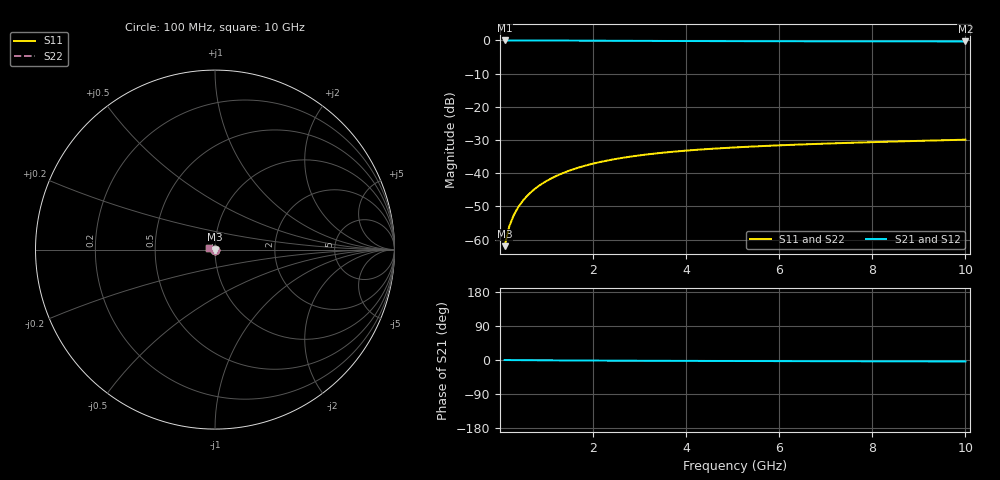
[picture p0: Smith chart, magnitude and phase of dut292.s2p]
! Touchstone file exported from HFSS 2024.1.0
!  File:  C:/UserFiles/LocalFiles/RDL_TSV_Batchsim/temp_TSV1_292_1779394344.aedt
!  Generated:  04:16:47 AM May 22, 2026
!  Design:  TSV1
!  Project:  temp_TSV1_292_1779394344
!  Setup:  Setup1
!  Solution:  Sweep
! Variables:
!  dtsv = 8.63um
!  hbump = 3um
!  htsv = 58.4um
!  lrdl = 252.1521522um
!  p = 40
!  p1 = 48.46um
!  t = 500um
!  trdl = 3um
!  wrdl = 24.89489489um
# GHz S MA R 50.000000
! Terminal data exported
! Port[1] = TSV22_T1
! Port[2] = TSV22_T2
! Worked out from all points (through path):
!   100 points, 100 MHz to 10 GHz, reference 50 ohm
!   highest |S21| = 0.00 dB at 100 MHz (marker M1); lowest = -0.3 dB at 10 GHz (marker M2)
!   lowest |S11| = -62.0 dB at 100 MHz (marker M3), VSWR 1.00, Z = 50 - j0.0785 ohm
!   |S11| at or under -10 dB: start of sweep to end of sweep
!   |S22| runs from -62.0 to -29.9 dB; largest |S21 - S12| = 5.1e-15
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0.1  0.0007963 -80.1  0.9998 -0.1  0.9998 -0.1  0.0007963 -80.1
! Gamma 0 0 0 0
! Port Impedance 50 0 50 0
0.2  0.001579 -87.7  0.9997 -0.2  0.9997 -0.2  0.001579 -87.7
0.3  0.002364 -91.6  0.9996 -0.3  0.9996 -0.3  0.002364 -91.6
0.4  0.003143 -94.5  0.9994 -0.4  0.9994 -0.4  0.003143 -94.5
0.5  0.003916 -97.0  0.9991 -0.4  0.9991 -0.4  0.003916 -97.0
0.6  0.004681 -99.3  0.9988 -0.5  0.9988 -0.5  0.004681 -99.3
0.7  0.005436 -101.5  0.9985 -0.6  0.9985 -0.6  0.005436 -101.5
0.8  0.00618 -103.6  0.9981 -0.7  0.9981 -0.7  0.00618 -103.6
0.9  0.006912 -105.6  0.9977 -0.8  0.9977 -0.8  0.006912 -105.6
1.1  0.008335 -109.4  0.9968 -0.9  0.9968 -0.9  0.008335 -109.4
1.4  0.01035 -114.9  0.9952 -1.1  0.9952 -1.1  0.01035 -114.9
1.6  0.01162 -118.3  0.994 -1.3  0.994 -1.3  0.01162 -118.3
1.8  0.01281 -121.7  0.9928 -1.4  0.9928 -1.4  0.01281 -121.7
2.1  0.01447 -126.4  0.9909 -1.6  0.9909 -1.6  0.01447 -126.4
2.5  0.01644 -132.3  0.9884 -1.8  0.9884 -1.8  0.01644 -132.3
2.9  0.01817 -137.7  0.986 -2.0  0.986 -2.0  0.01817 -137.7
3.4  0.02003 -143.8  0.9832 -2.2  0.9832 -2.2  0.02003 -143.8
4.2  0.02244 -152.5  0.9794 -2.4  0.9794 -2.4  0.02244 -152.5
5.1  0.02457 -160.7  0.9759 -2.7  0.9759 -2.7  0.02457 -160.7
6.7  0.02746 -172.8  0.9715 -3.1  0.9715 -3.1  0.02746 -172.8
8.4  0.02992 177.0  0.9685 -3.5  0.9685 -3.5  0.02992 177.0
10  0.03199 168.9  0.9665 -3.9  0.9665 -3.9  0.03198 168.9
